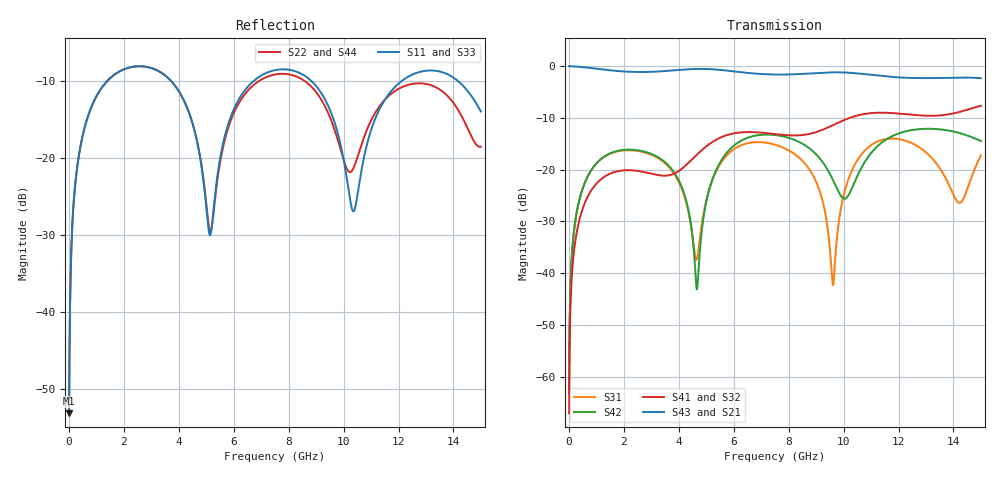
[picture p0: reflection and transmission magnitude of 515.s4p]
! Created with skrf 1.8.0 (http://scikit-rf.org).
# GHz S RI R 50.0
!freq ReS11 ImS11 ReS12 ImS12 ReS13 ImS13
! ReS14 ImS14
! ReS21 ImS21 ReS22 ImS22 ReS23 ImS23
! ReS24 ImS24
! ReS31 ImS31 ReS32 ImS32 ReS33 ImS33
! ReS34 ImS34
! ReS41 ImS41 ReS42 ImS42 ReS43 ImS43
! ReS44 ImS44
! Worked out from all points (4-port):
!   2499 points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, 5 MHz to 15 GHz, reference 50 ohm
!   strongest paths, dB at 5 MHz, 3.476 GHz, 7.19 GHz, 11.1 GHz, 15 GHz:
!     S43: 0.0, -1.0, -1.6, -1.8, -2.3
!     S21: 0.0, -1.0, -1.6, -1.7, -2.3
!     S41: -67.1, -21.2, -13.0, -9.0, -7.6
!     S32: -67.1, -21.2, -13.0, -9.0, -7.6
!     S42: -63.1, -18.5, -13.2, -16.2, -14.5
!     S31: -63.1, -18.7, -14.8, -14.9, -17.2
!   lowest |S11| = -53.2 dB at 5 MHz (marker M1), VSWR 1.00, Z = 50.2 + j0.133 ohm
!   |S11| at or under -10 dB: start of sweep to 1.396 GHz; 3.717 GHz to 6.728 GHz (3.011 GHz wide, 57.6 % of centre); 8.822 GHz to 12.12 GHz (3.3 GHz wide, 31.5 % of centre) (the widest 3 of 4)
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0.005  0.00174 0.00133  0.9982 -0.0034  8.8e-05 0.000694  -8.55e-05 -0.000435
       0.9982 -0.0034  0.00174 0.00133  -8.55e-05 -0.000435  8.8e-05 0.000694
       8.8e-05 0.000694  -8.55e-05 -0.000435  0.00174 0.00133  0.9982 -0.0034
       -8.55e-05 -0.000435  8.8e-05 0.000694  0.9982 -0.0034  0.00174 0.00133
0.3626511  0.0336 0.0986  0.9536 -0.2422  0.0159 0.0464  -0.0133 -0.0283
           0.9536 -0.2422  0.0335 0.0986  -0.0133 -0.0283  0.0163 0.0463
           0.0159 0.0464  -0.0133 -0.0283  0.0336 0.0986  0.9536 -0.2422
           -0.0133 -0.0283  0.0163 0.0463  0.9536 -0.2422  0.0335 0.0986
1.875782  0.3449 0.1271  0.3563 -0.8176  0.148 0.0344  -0.0942 0.0256
          0.3563 -0.8176  0.3434 0.1288  -0.0941 0.0254  0.1513 0.0268
          0.148 0.0344  -0.0941 0.0254  0.3448 0.127  0.3563 -0.8176
          -0.0942 0.0256  0.1513 0.0268  0.3563 -0.8176  0.3432 0.1289
4.658191  0.0625 -0.1129  -0.8716 -0.3486  -0.0136 -0.00106  -0.0473 0.1313
          -0.8716 -0.3486  0.0654 -0.1126  -0.0487 0.1308  -0.00694 -0.00072
          -0.0136 -0.00106  -0.0487 0.1308  0.0609 -0.1126  -0.8717 -0.3486
          -0.0473 0.1313  -0.00694 -0.00072  -0.8717 -0.3486  0.0663 -0.1113
7.878283  0.3737 -0.0363  -0.0432 0.8273  0.1567 -0.0296  0.2069 -0.0609
          -0.0432 0.8273  0.3508 -0.00976  0.207 -0.0576  0.1654 -0.1244
          0.1567 -0.0296  0.207 -0.0576  0.3734 -0.0353  -0.0442 0.8276
          0.2069 -0.0609  0.1654 -0.1244  -0.0442 0.8276  0.3496 -0.00944
9.610254  0.1076 -0.1479  0.7169 0.4923  0.00733 0.00225  0.1424 -0.2283
          0.7169 0.4923  0.1257 -0.1048  0.1473 -0.2252  -0.052 -0.0605
          0.00733 0.00225  0.1473 -0.2252  0.1041 -0.1473  0.7167 0.4933
          0.1424 -0.2283  -0.052 -0.0605  0.7167 0.4933  0.1274 -0.101
15  0.1398 -0.1431  -0.6586 -0.3875  0.0493 0.1281  -0.2113 0.3567
    -0.6586 -0.3875  0.1168 0.0186  -0.2222 0.3502  -0.1827 -0.0489
    0.0493 0.1281  -0.2222 0.3502  0.1415 -0.1439  -0.6547 -0.3935
    -0.2113 0.3567  -0.1827 -0.0489  -0.6547 -0.3935  0.1239 0.0171
